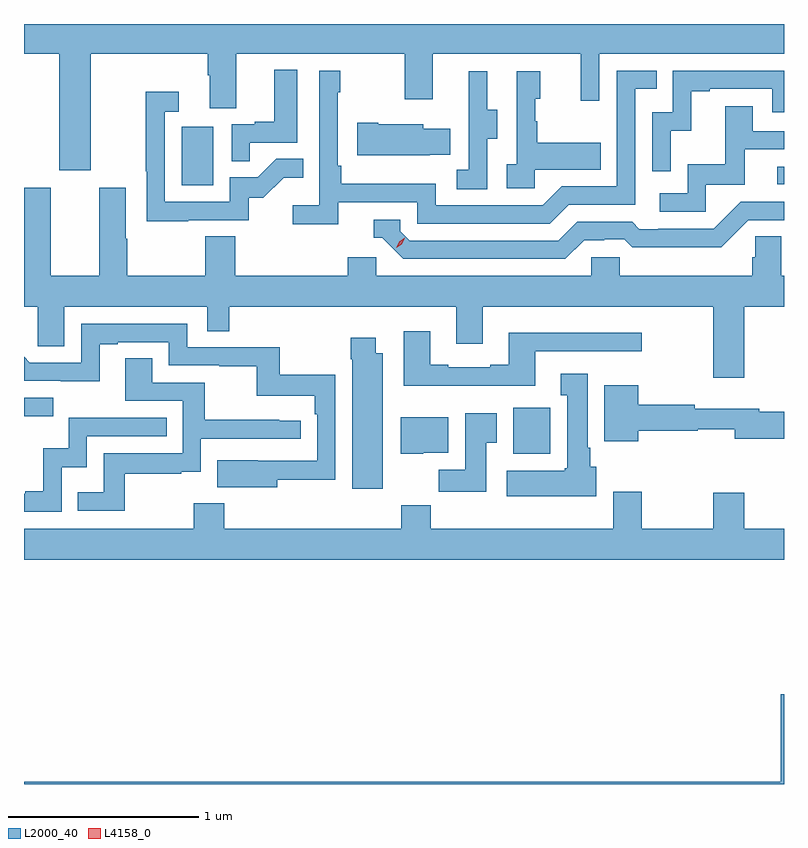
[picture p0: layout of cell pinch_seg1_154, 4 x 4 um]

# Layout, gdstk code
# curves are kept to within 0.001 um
import gdstk
lib = gdstk.Library(unit=1e-6, precision=1e-09)
def R(c, l, rs):  # rectangles x0, y0, x1, y1
    for r in rs: c.add(gdstk.rectangle(r[:2], r[2:], *l))
def P(c, l, *ps):  # polygons
    for p in ps: c.add(gdstk.Polygon(p, *l))
L2000_40 = (2000, 40)
L4158_0 = (4158, 0)

pinch_seg1_154 = lib.new_cell('pinch_seg1_154')
R(pinch_seg1_154, L2000_40, [(1134.983,542.966,1135.18,543.208), (1132.409,543.164,1132.564,543.261), (1133.24,544.38,1133.404,544.687), (1136.373,544.386,1136.409,544.479)])
P(pinch_seg1_154, L2000_40, [(1132.759,545.072),(1133.375,545.072),(1133.375,544.96),(1133.387,544.96),(1133.387,544.786),(1133.527,544.786),(1133.527,545.072),(1134.412,545.072),(1134.412,544.833),(1134.559,544.833),(1134.559,545.072),(1135.34,545.072),(1135.34,544.824),(1135.437,544.824),(1135.437,545.072),(1136.409,545.072),(1136.409,545.229),(1132.409,545.229),(1132.409,545.072),(1132.595,545.072),(1132.595,544.458),(1132.759,544.458)],
  [(1133.597,544.605),(1133.848,544.605),(1133.848,544.987),(1133.726,544.987),(1133.726,544.714),(1133.623,544.714),(1133.623,544.701),(1133.502,544.701),(1133.502,544.507),(1133.597,544.507)],
  [(1134.062,544.29),(1134.48,544.29),(1134.48,544.179),(1135.177,544.179),(1135.276,544.278),(1135.626,544.278),(1135.626,544.887),(1135.739,544.887),(1135.739,544.983),(1135.53,544.983),(1135.53,544.374),(1135.239,544.374),(1135.14,544.275),(1134.576,544.275),(1134.576,544.387),(1134.08,544.387),(1134.08,544.483),(1134.06,544.483),(1134.06,544.871),(1134.073,544.871),(1134.073,544.984),(1133.964,544.984),(1133.964,544.276),(1133.823,544.276),(1133.823,544.174),(1134.062,544.174)],
  [(1135.812,544.667),(1135.922,544.667),(1135.922,544.875),(1136.017,544.875),(1136.017,544.887),(1136.346,544.887),(1136.346,544.764),(1136.409,544.764),(1136.409,544.983),(1135.824,544.983),(1135.824,544.764),(1135.716,544.764),(1135.716,544.455),(1135.812,544.455)],
  [(1134.846,544.624),(1134.901,544.624),(1134.901,544.779),(1134.847,544.779),(1134.847,544.981),(1134.749,544.981),(1134.749,544.767),(1134.75,544.767),(1134.75,544.463),(1134.687,544.463),(1134.687,544.36),(1134.846,544.36)],
  [(1135.098,544.463),(1135.445,544.463),(1135.445,544.603),(1135.111,544.603),(1135.111,544.718),(1135.101,544.718),(1135.101,544.836),(1135.126,544.836),(1135.126,544.981),(1135.002,544.981),(1135.002,544.49),(1134.951,544.49),(1134.951,544.365),(1135.098,544.365)],
  [(1133.273,544.197),(1133.592,544.197),(1133.592,544.314),(1133.668,544.314),(1133.775,544.421),(1133.879,544.421),(1133.879,544.52),(1133.736,544.52),(1133.638,544.422),(1133.493,544.422),(1133.493,544.293),(1133.151,544.293),(1133.151,544.767),(1133.224,544.767),(1133.224,544.873),(1133.05,544.873),(1133.05,544.453),(1133.055,544.453),(1133.055,544.192),(1133.273,544.192)],
  [(1135.998,544.383),(1136.203,544.383),(1136.203,544.569),(1136.409,544.569),(1136.409,544.665),(1136.245,544.665),(1136.245,544.795),(1136.101,544.795),(1136.101,544.492),(1135.902,544.492),(1135.902,544.338),(1135.755,544.338),(1135.755,544.242),(1135.998,544.242)],
  [(1134.545,544.541),(1134.653,544.541),(1134.653,544.678),(1134.51,544.678),(1134.51,544.702),(1134.274,544.702),(1134.274,544.71),(1134.162,544.71),(1134.162,544.538),(1134.545,544.538)],
  [(1136.2,543.74),(1136.409,543.74),(1136.409,543.904),(1136.394,543.904),(1136.394,544.112),(1136.257,544.112),(1136.257,544.002),(1136.243,544.002),(1136.243,543.904),(1135.545,543.904),(1135.545,544.002),(1135.395,544.002),(1135.395,543.904),(1134.264,543.904),(1134.264,544.002),(1134.113,544.002),(1134.113,543.904),(1133.522,543.904),(1133.522,544.112),(1133.362,544.112),(1133.362,543.904),(1132.953,543.904),(1132.953,544.1),(1132.945,544.1),(1132.945,544.366),(1132.805,544.366),(1132.805,543.904),(1132.549,543.904),(1132.549,544.366),(1132.409,544.366),(1132.409,543.74),(1132.482,543.74),(1132.482,543.532),(1132.621,543.532),(1132.621,543.74),(1133.373,543.74),(1133.373,543.613),(1133.489,543.613),(1133.489,543.74),(1134.683,543.74),(1134.683,543.546),(1134.823,543.546),(1134.823,543.74),(1136.036,543.74),(1136.036,543.366),(1136.2,543.366)],
  [(1135.357,544.092),(1135.464,544.092),(1135.464,544.095),(1135.567,544.095),(1135.609,544.053),(1135.842,544.053),(1135.842,544.055),(1136.078,544.055),(1136.22,544.197),(1136.409,544.197),(1136.409,544.293),(1136.181,544.293),(1136.04,544.152),(1135.747,544.152),(1135.747,544.149),(1135.648,544.149),(1135.609,544.188),(1135.32,544.188),(1135.221,544.089),(1134.438,544.089),(1134.39,544.137),(1134.39,544.2),(1134.251,544.2),(1134.251,544.104),(1134.294,544.104),(1134.405,543.993),(1135.258,543.993)],
  [(1133.743,542.83),(1134.048,542.83),(1134.048,543.382),(1133.755,543.382),(1133.755,543.528),(1133.268,543.528),(1133.268,543.651),(1132.71,543.651),(1132.71,543.447),(1132.44,543.447),(1132.409,543.478),(1132.409,543.351),(1132.807,543.35),(1132.807,543.543),(1132.903,543.543),(1132.903,543.555),(1133.172,543.555),(1133.172,543.432),(1133.437,543.432),(1133.437,543.427),(1133.634,543.427),(1133.634,543.272),(1133.939,543.272),(1133.939,543.176),(1133.952,543.176),(1133.952,542.931),(1133.425,542.932),(1133.425,542.792),(1133.743,542.792)],
  [(1135.099,543.507),(1135.66,543.507),(1135.66,543.604),(1134.959,543.604),(1134.959,543.436),(1134.863,543.436),(1134.863,543.423),(1134.643,543.423),(1134.643,543.436),(1134.547,543.436),(1134.547,543.613),(1134.407,543.613),(1134.407,543.326),(1135.099,543.326)],
  [(1134.298,543.496),(1134.259,543.496),(1134.259,543.577),(1134.13,543.577),(1134.13,543.464),(1134.137,543.464),(1134.137,542.784),(1134.298,542.784)],
  [(1132.939,542.862),(1133.237,542.862),(1133.237,542.873),(1133.34,542.873),(1133.34,543.045),(1133.866,543.045),(1133.866,543.141),(1133.753,543.141),(1133.753,543.146),(1133.36,543.146),(1133.36,543.342),(1133.083,543.342),(1133.083,543.47),(1132.943,543.47),(1132.943,543.246),(1133.244,543.246),(1133.244,542.97),(1132.828,542.97),(1132.828,542.764),(1132.693,542.764),(1132.693,542.667),(1132.939,542.667)],
  [(1135.42,542.898),(1135.39,542.898),(1135.39,542.998),(1135.375,542.998),(1135.375,543.388),(1135.235,543.388),(1135.235,543.275),(1135.268,543.275),(1135.268,542.892),(1135.255,542.892),(1135.255,542.878),(1134.951,542.878),(1134.951,542.744),(1135.42,542.744)],
  [(1135.642,543.088),(1135.954,543.088),(1135.954,543.096),(1136.15,543.096),(1136.15,543.046),(1136.409,543.046),(1136.409,543.188),(1136.278,543.188),(1136.278,543.205),(1135.94,543.205),(1135.94,543.224),(1135.642,543.224),(1135.642,543.328),(1135.463,543.328),(1135.463,543.032),(1135.642,543.032)],
  [(1134.841,543.025),(1134.898,543.025),(1134.898,543.181),(1134.731,543.181),(1134.731,542.884),(1134.592,542.884),(1134.592,542.766),(1134.841,542.766)],
  [(1134.51,542.972),(1134.643,542.972),(1134.643,543.16),(1134.392,543.16),(1134.392,542.966),(1134.51,542.966)],
  [(1132.608,542.897),(1132.74,542.897),(1132.74,543.06),(1133.159,543.06),(1133.159,543.156),(1132.644,543.156),(1132.644,542.995),(1132.511,542.995),(1132.511,542.77),(1132.415,542.77),(1132.415,542.757),(1132.409,542.757),(1132.409,542.661),(1132.608,542.661)],
  [(1136.409,542.572),(1136.2,542.572),(1136.2,542.761),(1136.036,542.761),(1136.036,542.572),(1135.659,542.572),(1135.659,542.767),(1135.511,542.767),(1135.511,542.572),(1134.551,542.572),(1134.551,542.696),(1134.395,542.696),(1134.395,542.572),(1133.462,542.572),(1133.462,542.707),(1133.302,542.707),(1133.302,542.572),(1132.409,542.572),(1132.409,542.408),(1136.409,542.408)],
  [(1136.409,541.702),(1136.393,541.702),(1136.393,541.24),(1132.409,541.24),(1132.409,541.229),(1136.409,541.229)])
P(pinch_seg1_154, L4158_0, [(1134.367,544.051),(1134.367,544.051),(1134.383,544.084),(1134.414,544.103),(1134.414,544.103),(1134.414,544.103),(1134.398,544.07),(1134.367,544.051)])

lib.write_gds('pinch_seg1_154.gds')
